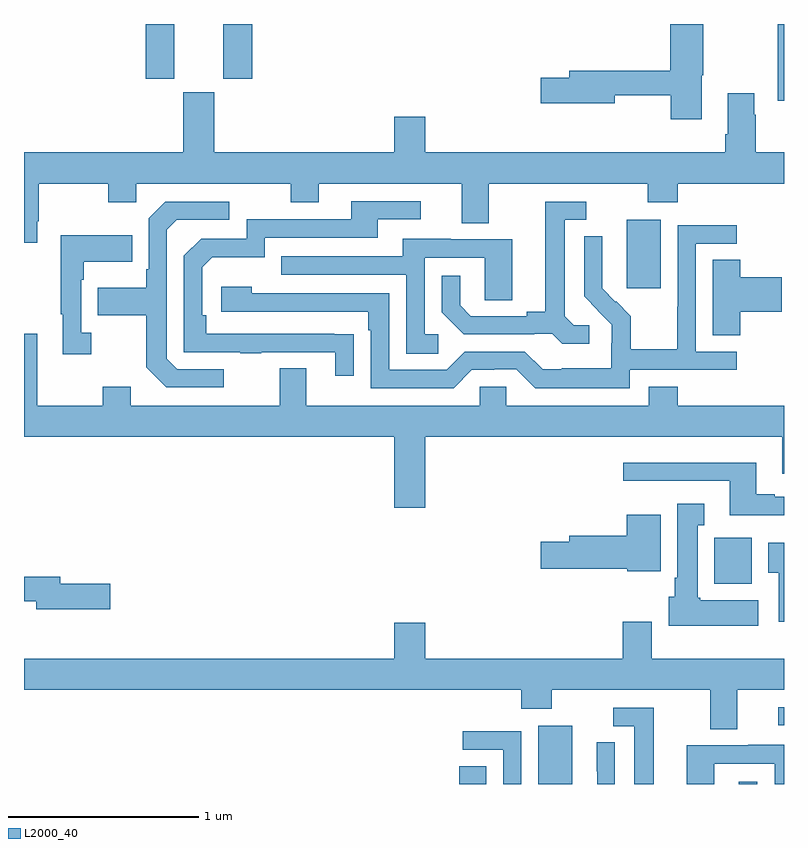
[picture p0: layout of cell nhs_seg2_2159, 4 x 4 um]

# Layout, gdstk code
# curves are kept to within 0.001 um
import gdstk
lib = gdstk.Library(unit=1e-6, precision=1e-09)
def R(c, l, rs):  # rectangles x0, y0, x1, y1
    for r in rs: c.add(gdstk.rectangle(r[:2], r[2:], *l))
def P(c, l, *ps):  # polygons
    for p in ps: c.add(gdstk.Polygon(p, *l))
L2000_40 = (2000, 40)

nhs_seg2_2159 = lib.new_cell('nhs_seg2_2159')
R(nhs_seg2_2159, L2000_40, [(225.29,653.8,225.433,653.894), (225.707,653.8,225.886,654.106), (226.763,653.8,226.86,653.812), (226.971,654.108,227,654.204), (226.634,654.854,226.831,655.096), (226.172,656.409,226.351,656.77), (226.968,657.395,227,657.8), (223.64,657.513,223.792,657.8), (224.048,657.513,224.201,657.8)])
P(nhs_seg2_2159, L2000_40, [(226.567,657.531),(226.575,657.531),(226.575,657.8),(226.4,657.8),(226.4,657.554),(225.869,657.554),(225.869,657.518),(225.72,657.518),(225.72,657.383),(226.108,657.383),(226.108,657.426),(226.405,657.426),(226.405,657.3),(226.567,657.3)],
  [(223.069,656.761),(223.077,656.761),(223.077,656.96),(223.444,656.96),(223.444,656.861),(223.59,656.861),(223.59,656.96),(224.404,656.96),(224.404,656.861),(224.551,656.861),(224.551,656.96),(225.305,656.96),(225.305,656.752),(225.445,656.752),(225.445,656.96),(226.282,656.96),(226.282,656.861),(226.442,656.861),(226.442,656.96),(227,656.96),(227,657.124),(226.851,657.124),(226.851,657.323),(226.843,657.323),(226.843,657.436),(226.703,657.436),(226.703,657.22),(226.691,657.22),(226.691,657.124),(225.112,657.124),(225.112,657.313),(224.948,657.313),(224.948,657.124),(224.002,657.124),(224.002,657.441),(223.838,657.441),(223.838,657.124),(223,657.124),(223,656.649),(223.069,656.649)],
  [(224.735,656.168),(223.958,656.169),(223.958,656.266),(223.938,656.266),(223.938,656.52),(223.991,656.573),(224.268,656.573),(224.268,656.676),(224.863,656.676),(224.863,656.772),(225.088,656.772),(225.088,656.868),(224.723,656.868),(224.723,656.772),(224.172,656.772),(224.172,656.67),(223.932,656.67),(223.842,656.58),(223.842,656.073),(224.137,656.073),(224.137,656.068),(224.249,656.068),(224.249,656.073),(224.639,656.073),(224.639,655.95),(224.735,655.95)],
  [(225.976,656.214),(225.894,656.214),(225.847,656.261),(225.847,656.769),(225.958,656.769),(225.958,656.865),(225.743,656.865),(225.743,656.285),(225.647,656.285),(225.647,656.262),(225.352,656.262),(225.295,656.319),(225.295,656.476),(225.198,656.476),(225.198,656.282),(225.314,656.166),(225.686,656.166),(225.686,656.169),(225.78,656.169),(225.832,656.117),(225.976,656.117)],
  [(224.05,655.983),(223.806,655.983),(223.752,656.037),(223.752,656.718),(223.803,656.769),(224.08,656.769),(224.08,656.865),(223.743,656.865),(223.656,656.778),(223.656,656.509),(223.644,656.509),(223.644,656.413),(223.387,656.413),(223.387,656.266),(223.644,656.266),(223.644,655.993),(223.749,655.887),(224.05,655.887)],
  [(226.188,655.98),(226.75,655.98),(226.75,656.076),(226.536,656.076),(226.536,656.643),(226.75,656.643),(226.75,656.742),(226.44,656.742),(226.44,656.312),(226.438,656.312),(226.438,656.089),(226.193,656.089),(226.193,656.263),(226.116,656.34),(226.113,656.337),(226.043,656.408),(226.044,656.684),(225.948,656.684),(225.948,656.366),(226.094,656.218),(226.094,656.121),(226.092,656.121),(226.092,655.987),(225.829,655.987),(225.829,655.983),(225.729,655.983),(225.636,656.076),(225.321,656.076),(225.225,655.98),(224.922,655.98),(224.922,656.382),(224.198,656.382),(224.198,656.416),(224.037,656.416),(224.037,656.286),(224.813,656.286),(224.813,656.189),(224.826,656.189),(224.826,655.884),(225.261,655.884),(225.357,655.98),(225.476,655.98),(225.476,655.983),(225.591,655.983),(225.691,655.883),(226.188,655.883)],
  [(223.354,656.174),(223.302,656.174),(223.302,656.453),(223.315,656.453),(223.315,656.549),(223.571,656.549),(223.571,656.689),(223.194,656.689),(223.194,656.273),(223.205,656.273),(223.205,656.061),(223.354,656.061)],
  [(225.181,656.166),(225.108,656.166),(225.108,656.571),(225.426,656.571),(225.426,656.347),(225.571,656.347),(225.571,656.667),(225.247,656.667),(225.247,656.671),(224.993,656.671),(224.993,656.577),(224.353,656.577),(224.353,656.481),(225.012,656.481),(225.012,656.065),(225.181,656.065)],
  [(226.769,656.285),(226.987,656.285),(226.987,656.468),(226.769,656.468),(226.769,656.558),(226.625,656.558),(226.625,656.161),(226.769,656.161)],
  [(225.112,655.628),(226.991,655.628),(226.991,655.434),(227,655.434),(227,655.792),(226.442,655.792),(226.442,655.891),(226.289,655.891),(226.289,655.792),(225.537,655.792),(225.537,655.89),(225.399,655.89),(225.399,655.792),(224.485,655.792),(224.485,655.987),(224.345,655.987),(224.345,655.792),(223.561,655.792),(223.561,655.891),(223.414,655.891),(223.414,655.792),(223.069,655.792),(223.069,656.17),(223,656.17),(223,655.628),(224.948,655.628),(224.948,655.254),(225.112,655.254)],
  [(227,655.311),(226.951,655.311),(226.951,655.324),(226.855,655.324),(226.855,655.492),(226.155,655.492),(226.155,655.395),(226.715,655.395),(226.715,655.214),(227,655.214)],
  [(226.864,654.766),(226.56,654.766),(226.56,654.78),(226.546,654.78),(226.546,655.163),(226.579,655.163),(226.579,655.276),(226.439,655.276),(226.439,654.886),(226.424,654.886),(226.424,654.786),(226.394,654.786),(226.394,654.632),(226.864,654.632)],
  [(226.351,655.216),(226.172,655.216),(226.172,655.106),(225.869,655.106),(225.869,655.076),(225.72,655.076),(225.72,654.934),(226.176,654.934),(226.176,654.92),(226.351,654.92)],
  [(227,655.069),(226.916,655.069),(226.916,654.913),(226.973,654.913),(226.973,654.654),(227,654.654)],
  [(223.453,654.854),(223.192,654.854),(223.192,654.89),(223,654.89),(223,654.762),(223.064,654.762),(223.064,654.719),(223.453,654.719)],
  [(226.753,654.296),(227,654.296),(227,654.46),(226.303,654.46),(226.303,654.655),(226.151,654.655),(226.151,654.46),(225.112,654.46),(225.112,654.649),(224.948,654.649),(224.948,654.46),(223,654.46),(223,654.296),(225.617,654.296),(225.617,654.197),(225.777,654.197),(225.777,654.296),(226.613,654.296),(226.613,654.088),(226.753,654.088)],
  [(226.315,654.201),(226.101,654.201),(226.101,654.105),(226.211,654.105),(226.211,653.8),(226.315,653.8)],
  [(225.618,654.078),(225.309,654.078),(225.309,653.979),(225.522,653.979),(225.522,653.8),(225.618,653.8)],
  [(226.11,654.02),(226.014,654.02),(226.014,653.866),(226.016,653.866),(226.016,653.8),(226.11,653.8)],
  [(226.632,653.907),(226.95,653.907),(226.95,653.8),(227,653.8),(227,654.007),(226.811,654.007),(226.811,654.003),(226.487,654.003),(226.487,653.8),(226.632,653.8)])

lib.write_gds('nhs_seg2_2159.gds')
